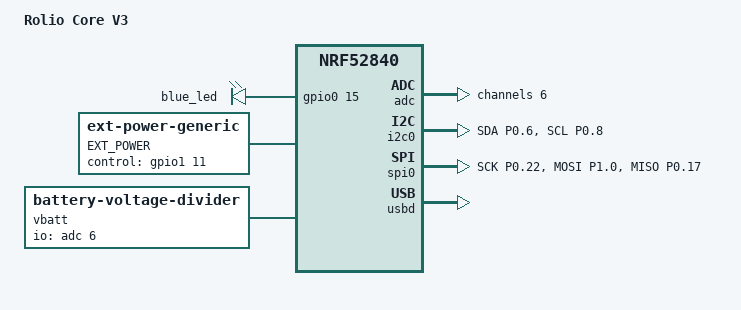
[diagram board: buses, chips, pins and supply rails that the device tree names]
/*
 * Rolio Core V3 — nRF52840 keyboard controller (beekeeb/keydio Rolio).
 *
 * Ported to Zephyr hardware-model v2 from the vendor's HWMv1 board at
 * MickiusMousius/Rolio2Firmware, branch choc2-revision1 (boards/arm/rolio3).
 * The vendor tree targets Zephyr 3.5; this workspace is on Zephyr 4.1, so the
 * board is redefined here rather than consumed as a west module.
 *
 * SPDX-License-Identifier: MIT
 */

/dts-v1/;
#include <nordic/nrf52840_qiaa.dtsi>
#include <common/nordic/nrf52840_uf2_boot_mode.dtsi>

/ {
    model = "Rolio Core V3";
    compatible = "rolio,core";

    chosen {
        zephyr,code-partition = &code_partition;
        zephyr,sram = &sram0;
        zephyr,flash = &flash0;
        zmk,battery = &vbatt;
    };

    leds {
        compatible = "gpio-leds";
        blue_led: led_0 {
            gpios = <&gpio0 15 GPIO_ACTIVE_HIGH>;
        };
    };

    /*
     * Peripheral power enable = P1.11. Found by driving candidate pins over a
     * GPIO shell and watching the panel: P1.11 alone powers the display, and
     * neither P0.03 nor P1.06 has any effect on it.
     *
     * The vendor's `main` board file puts EXT_POWER on P0.03, but that same
     * branch's shield also puts the encoder's A line on P0.03 -- they cannot
     * both be right, and since P1.11 is demonstrably the power enable, P0.03
     * is the encoder. This board file therefore differs from every vendor
     * branch; P1.11 appears in none of them, nor in either schematic.
     *
     * Node name must match the original "EXT_POWER" label to preserve settings.
     */
    EXT_POWER {
        compatible = "zmk,ext-power-generic";
        control-gpios = <&gpio1 11 GPIO_ACTIVE_HIGH>;
        init-delay-ms = <100>;
    };

    /*
     * Battery sense divider. The fitted pair is 2M / 806k; the vendor fudges the
     * high side to 1.92M so a fully-charged cell reads as 100%.
     */
    vbatt: vbatt {
        compatible = "zmk,battery-voltage-divider";
        io-channels = <&adc 6>;
        output-ohms = <1920000>;
        full-ohms = <(1920000 + 806000)>;
    };
};

&adc {
    status = "okay";
    #address-cells = <1>;
    #size-cells = <0>;

    /*
     * The divider is high-impedance (2.7M total), so the SAADC needs a long
     * acquisition time to settle. RC ~= 2.7M * 15pF = 40.5us; 200us is ~5T
     * (99.3% settled).
     */
    channel@6 {
        reg = <6>;
        zephyr,gain = "ADC_GAIN_1";
        zephyr,reference = "ADC_REF_INTERNAL";
        zephyr,acquisition-time = <ADC_ACQ_TIME(ADC_ACQ_TIME_MICROSECONDS, 200)>;
        zephyr,input-positive = <NRF_SAADC_AIN6>;
    };
};

/*
 * The DCDC converter is fitted (the vendor board set BOARD_ENABLE_DCDC). In
 * Zephyr 4.1 CONFIG_SOC_DCDC_NRF52X is deprecated and no longer user-settable;
 * it is a devicetree property now. REG0 (the high-voltage stage the vendor also
 * enabled via BOARD_ENABLE_DCDC_HV) has no devicetree node on nRF52840 in this
 * Zephyr, so it stays in LDO mode — only relevant while running from USB.
 */
&reg1 {
    regulator-initial-mode = <NRF5X_REG_MODE_DCDC>;
};

&gpiote {
    status = "okay";
};

&gpio0 {
    status = "okay";
};

&gpio1 {
    status = "okay";
};

/* Left unenabled: nothing on either half uses I2C (the trackpad is SPI). */
&i2c0 {
    compatible = "nordic,nrf-twi";
    pinctrl-0 = <&i2c0_default>;
    pinctrl-1 = <&i2c0_sleep>;
    pinctrl-names = "default", "sleep";
};

&spi0 {
    compatible = "nordic,nrf-spim";
    pinctrl-0 = <&spi0_default>;
    pinctrl-1 = <&spi0_sleep>;
    pinctrl-names = "default", "sleep";
};

zephyr_udc0: &usbd {
    status = "okay";
};

&pinctrl {
    i2c0_default: i2c0_default {
        group1 {
            psels = <NRF_PSEL(TWIM_SDA, 0, 6)>,
                    <NRF_PSEL(TWIM_SCL, 0, 8)>;
            bias-pull-up;
        };
    };

    i2c0_sleep: i2c0_sleep {
        group1 {
            psels = <NRF_PSEL(TWIM_SDA, 0, 6)>,
                    <NRF_PSEL(TWIM_SCL, 0, 8)>;
            low-power-enable;
            bias-pull-up;
        };
    };

    spi0_default: spi0_default {
        group1 {
            psels = <NRF_PSEL(SPIM_SCK, 0, 22)>,
                <NRF_PSEL(SPIM_MOSI, 1, 0)>,
                <NRF_PSEL(SPIM_MISO, 0, 17)>;
        };
    };

    spi0_sleep: spi0_sleep {
        group1 {
            psels = <NRF_PSEL(SPIM_SCK, 0, 22)>,
                <NRF_PSEL(SPIM_MOSI, 1, 0)>,
                <NRF_PSEL(SPIM_MISO, 0, 17)>;
            low-power-enable;
            bias-pull-down;
        };
    };

    /*
     * Drives the underglow power gate, not a backlight LED. P1.13 on this
     * revision -- the choc2-revision* branches use P0.28, which here is the
     * fourth matrix row (verified on hardware).
     */
    pwm0_default: pwm0_default {
        group1 {
            psels = <NRF_PSEL(PWM_OUT0, 1, 13)>;
        };
    };

    pwm0_sleep: pwm0_sleep {
        group1 {
            psels = <NRF_PSEL(PWM_OUT0, 1, 13)>;
            low-power-enable;
        };
    };
};

&flash0 {
    partitions {
        compatible = "fixed-partitions";
        #address-cells = <1>;
        #size-cells = <1>;

        sd_partition: partition@0 {
            reg = <0x00000000 0x00026000>;
        };
        code_partition: partition@26000 {
            reg = <0x00026000 0x000c6000>;
        };

        /*
         * The flash starting at 0x000ec000 and ending at 0x000f3fff is
         * reserved for use by the application (settings storage).
         */
        storage_partition: partition@ec000 {
            reg = <0x000ec000 0x00008000>;
        };

        boot_partition: partition@f4000 {
            reg = <0x000f4000 0x0000c000>;
        };
    };
};
